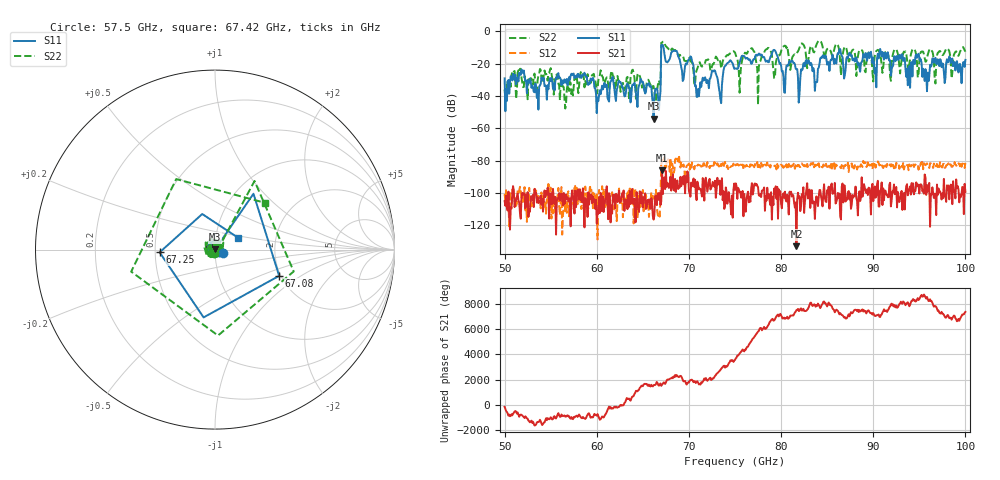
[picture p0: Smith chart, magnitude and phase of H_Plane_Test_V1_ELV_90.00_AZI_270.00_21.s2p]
! 11/27/2026 8:14:59 AM
! C:\ANRITSUVNA\TEMP\TEMP.S2P
! CHANNEL.1
! TR.MEASUREMENT
! RAW.DATA
# HZ S RI R 50.0
! FREQ.HZ  S11RE  S11IM  S21RE  S21IM  S12RE  S12IM  S22RE  S22IM
!; PortSelection: Port_12
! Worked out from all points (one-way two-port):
!   601 points, 50 GHz to 100 GHz, reference 50 ohm
!   highest |S21| = -86.14 dB at 67.08 GHz (marker M1); lowest = -133.0 dB at 81.67 GHz (marker M2)
!   lowest |S11| = -54.0 dB at 66.17 GHz (marker M3), VSWR 1.00, Z = 50.1 + j0.153 ohm
!   |S11| at or under -10 dB: start of sweep to 67 GHz; 67.24 GHz to end of sweep
!   |S22| runs from -47.8 to -5.6 dB; largest |S21 - S12| = 0.00013
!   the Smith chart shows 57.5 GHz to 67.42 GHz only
!   S11 on the Smith chart (normalised r, x): 57.5 GHz: 1.09, -0.05; 67.08 GHz: 1.96, -0.67; 67.25 GHz: 0.53, -0.02; 67.42 GHz: 1.29, +0.17
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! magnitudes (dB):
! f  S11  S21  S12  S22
! 50 GHz  -29.1  -105.1  -100.8  -36.0
! 51.67 GHz  -26.2  -112.4  -96.2  -23.2
! 53.42 GHz  -34.9  -99.7  -98.6  -35.1
! 57.5 GHz  -26.1  -104.6  -110.2  -34.4
! 58.42 GHz  -27.1  -105.8  -103.4  -24.6
! 60.17 GHz  -43.2  -112.8  -102.5  -30.2
! 66.17 GHz  -54.0  -116.6  -101.2  -33.9
! 66.67 GHz  -41.7  -100.1  -115.0  -31.6
! 67.08 GHz  -8.3  -86.1  -80.4  -6.8
! 67.25 GHz  -10.2  -90.8  -80.4  -6.3
! 67.42 GHz  -16.7  -97.7  -86.7  -8.4
! 70.25 GHz  -16.0  -93.6  -85.2  -18.8
! 70.92 GHz  -40.5  -93.0  -83.1  -23.0
! 75 GHz  -23.1  -98.1  -83.5  -13.0
! 79.25 GHz  -11.4  -97.3  -83.4  -28.9
! 81.67 GHz  -23.4  -133.0  -81.7  -14.1
! 83.42 GHz  -24.7  -106.6  -82.4  -10.9
! 91.67 GHz  -16.8  -102.7  -82.3  -15.3
! 93.75 GHz  -33.4  -101.5  -83.0  -21.8
! 94.83 GHz  -14.8  -94.8  -82.5  -28.5
! 95.83 GHz  -37.0  -95.2  -81.7  -16.4
! 100 GHz  -17.6  -99.3  -81.5  -12.6
